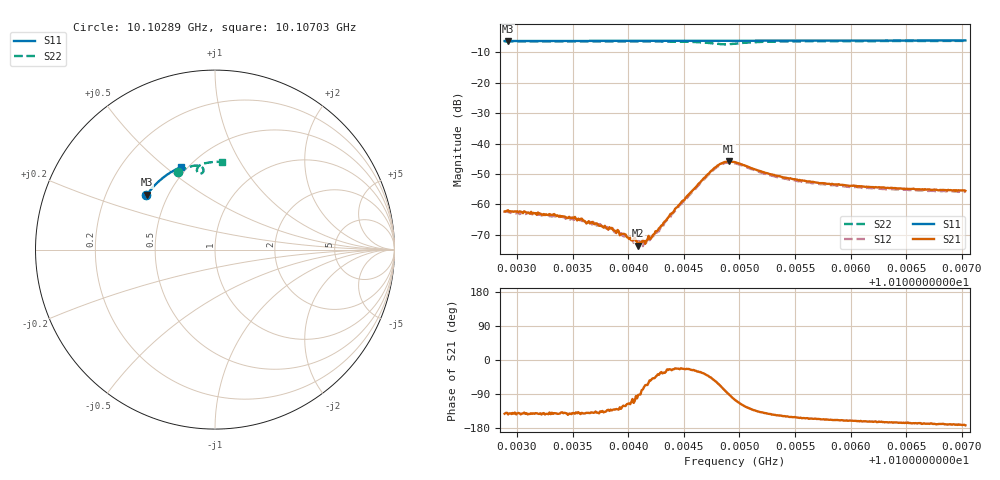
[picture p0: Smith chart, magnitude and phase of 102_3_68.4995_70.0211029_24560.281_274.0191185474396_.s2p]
#  HZ  S  RI  R  50.00
! Rohde & Schwarz Vector Network Analyzer
! Rohde-Schwarz,ZNB20-2Port,1311601062101988,3.16
! Created: UTC 3/20/2024, 4:53:07 PM
! freq[Hz]  re:S11  im:S11  re:S21  im:S21  re:S12  im:S12  re:S22  im:S22
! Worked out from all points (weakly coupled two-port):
!   401 points, 10.10289 GHz to 10.10703 GHz, reference 50 ohm
!   highest |S21| = -45.84 dB at 10.10491 GHz (marker M1); lowest = -73.6 dB at 10.10409 GHz (marker M2)
!   lowest |S11| = -6.2 dB at 10.10292 GHz (marker M3), VSWR 2.91, Z = 19.1 + j15.3 ohm
!   |S11| at or under -10 dB: nowhere
!   |S22| runs from -7.3 to -6.2 dB; largest |S21 - S12| = 0.00051
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1.0102889e10  -0.3818 0.3042  -0.000597 -0.000471  -0.000532 -0.00053  -0.2047 0.4347
1.010292e10  -0.3805 0.3057  -0.000642 -0.000474  -0.000552 -0.000504  -0.2028 0.4357
1.0103314e10  -0.366 0.3247  -0.000508 -0.000442  -0.000458 -0.000428  -0.1791 0.447
1.0103583e10  -0.3555 0.3372  -0.000443 -0.000379  -0.000398 -0.000353  -0.1618 0.4541
1.0103614e10  -0.3543 0.3388  -0.000404 -0.000328  -0.000374 -0.000356  -0.1599 0.4549
1.0103852e10  -0.3445 0.3495  -0.00028 -0.0003  -0.000214 -0.0003  -0.1439 0.4605
1.0103966e10  -0.3399 0.3546  -0.000169 -0.000278  -0.000129 -0.000267  -0.1358 0.4629
1.0104028e10  -0.3371 0.3573  -8.99e-05 -0.000241  -6.06e-05 -0.000256  -0.1313 0.4641
1.0104059e10  -0.3359 0.3586  -8.58e-05 -0.000269  -3.14e-05 -0.000256  -0.129 0.4646
1.010409e10  -0.3345 0.3599  -7.97e-06 -0.00021  4.8e-07 -0.000251  -0.1265 0.4652
1.0104152e10  -0.332 0.3627  8.81e-05 -0.000206  9.76e-05 -0.000222  -0.1217 0.4662
1.0104214e10  -0.3292 0.3651  0.000192 -0.000226  0.000196 -0.000229  -0.1168 0.4672
1.0104277e10  -0.3265 0.368  0.000313 -0.000257  0.000306 -0.00019  -0.1115 0.4677
1.0104484e10  -0.3173 0.3766  0.00103 -0.000431  0.00101 -0.000341  -0.0915 0.4677
1.0104743e10  -0.3055 0.3868  0.00244 -0.00252  0.00249 -0.00221  -0.0643 0.445
1.0104825e10  -0.3018 0.3899  0.00178 -0.00426  0.00204 -0.00391  -0.0696 0.4282
1.0104908e10  -0.298 0.393  -0.000138 -0.0051  0.000301 -0.00489  -0.088 0.424
1.010496e10  -0.2955 0.395  -0.00132 -0.00476  -0.000834 -0.00465  -0.0972 0.4306
1.0105322e10  -0.2784 0.4088  -0.00245 -0.00171  -0.00217 -0.00186  -0.0808 0.4713
1.0105654e10  -0.262 0.4205  -0.00213 -0.000999  -0.00191 -0.00111  -0.0544 0.481
1.0106348e10  -0.2262 0.4427  -0.00178 -0.000504  -0.00164 -0.000631  -0.00577 0.4882
1.0107031e10  -0.1894 0.4613  -0.00165 -0.000225  -0.00158 -0.000396  0.0397 0.4889
